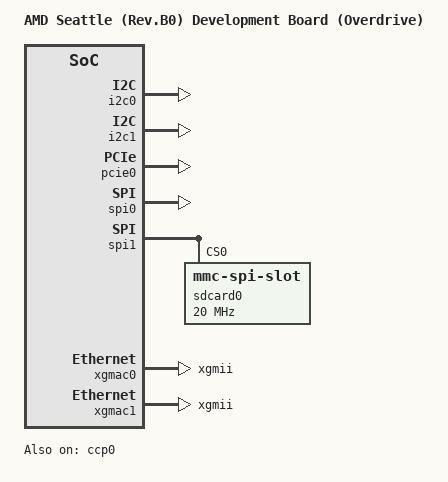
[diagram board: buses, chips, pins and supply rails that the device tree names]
// SPDX-License-Identifier: GPL-2.0
/*
 * DTS file for AMD Seattle Overdrive Development Board
 * Note: For Seattle Rev.B0
 *
 * Copyright (C) 2015 Advanced Micro Devices, Inc.
 */

/dts-v1/;

/include/ "amd-seattle-soc.dtsi"
/include/ "amd-seattle-cpus.dtsi"

/ {
	model = "AMD Seattle (Rev.B0) Development Board (Overdrive)";
	compatible = "amd,seattle-overdrive", "amd,seattle";

	chosen {
		stdout-path = &serial0;
	};

	psci {
		compatible = "arm,psci-0.2";
		method = "smc";
	};
};

&ccp0 {
	status = "okay";
};

/**
 * NOTE: In Rev.B, gpio0 is reserved.
 */
&gpio1 {
	status = "okay";
};

&gpio4 {
	status = "okay";
};

&i2c0 {
	status = "okay";
};

&i2c1 {
	status = "okay";
};

&pcie0 {
	status = "okay";
};

&spi0 {
	status = "okay";
};

&spi1 {
	status = "okay";
	sdcard0: mmc@0 {
		compatible = "mmc-spi-slot";
		reg = <0>;
		spi-max-frequency = <20000000>;
		voltage-ranges = <3200 3400>;
		pl022,interface = <0>;
		pl022,com-mode = <0x0>;
		pl022,rx-level-trig = <0>;
		pl022,tx-level-trig = <0>;
	};
};

&smb0 {
	xgmac0: ethernet@e0700000 {
		compatible = "amd,xgbe-seattle-v1a";
		reg = <0 0xe0700000 0 0x80000>,
		      <0 0xe0780000 0 0x80000>,
		      <0 0xe1240800 0 0x00400>, /* SERDES RX/TX0 */
		      <0 0xe1250000 0 0x00060>, /* SERDES IR 1/2 */
		      <0 0xe12500f8 0 0x00004>; /* SERDES IR 2/2 */
		interrupts = <0 325 4>,
			     <0 346 1>, <0 347 1>, <0 348 1>, <0 349 1>,
			     <0 323 4>;
		amd,per-channel-interrupt;
		amd,speed-set = <0>;
		amd,serdes-blwc = <1>, <1>, <0>;
		amd,serdes-cdr-rate = <2>, <2>, <7>;
		amd,serdes-pq-skew = <10>, <10>, <18>;
		amd,serdes-tx-amp = <0>, <0>, <0>;
		amd,serdes-dfe-tap-config = <3>, <3>, <3>;
		amd,serdes-dfe-tap-enable = <0>, <0>, <7>;
		mac-address = [ 02 A1 A2 A3 A4 A5 ];
		clocks = <&xgmacclk0_dma_250mhz>, <&xgmacclk0_ptp_250mhz>;
		clock-names = "dma_clk", "ptp_clk";
		phy-mode = "xgmii";
		iommus = <&xgmac0_smmu 0x00 0x17>; /* 0-7, 16-23 */
		dma-coherent;
	};

	xgmac1: ethernet@e0900000 {
		compatible = "amd,xgbe-seattle-v1a";
		reg = <0 0xe0900000 0 0x80000>,
		      <0 0xe0980000 0 0x80000>,
		      <0 0xe1240c00 0 0x00400>, /* SERDES RX/TX1 */
		      <0 0xe1250080 0 0x00060>, /* SERDES IR 1/2 */
		      <0 0xe12500fc 0 0x00004>; /* SERDES IR 2/2 */
		interrupts = <0 324 4>,
			     <0 341 1>, <0 342 1>, <0 343 1>, <0 344 1>,
			     <0 322 4>;
		amd,per-channel-interrupt;
		amd,speed-set = <0>;
		amd,serdes-blwc = <1>, <1>, <0>;
		amd,serdes-cdr-rate = <2>, <2>, <7>;
		amd,serdes-pq-skew = <10>, <10>, <18>;
		amd,serdes-tx-amp = <0>, <0>, <0>;
		amd,serdes-dfe-tap-config = <3>, <3>, <3>;
		amd,serdes-dfe-tap-enable = <0>, <0>, <7>;
		mac-address = [ 02 B1 B2 B3 B4 B5 ];
		clocks = <&xgmacclk1_dma_250mhz>, <&xgmacclk1_ptp_250mhz>;
		clock-names = "dma_clk", "ptp_clk";
		phy-mode = "xgmii";
		iommus = <&xgmac1_smmu 0x00 0x17>; /* 0-7, 16-23 */
		dma-coherent;
	};

	xgmac0_smmu: iommu@e0600000 {
		 compatible = "arm,mmu-401";
		 reg = <0 0xe0600000 0 0x10000>;
		 #global-interrupts = <1>;
		 interrupts = /* Uses combined intr for both
			       * global and context
			       */
			      <0 336 4>,
			      <0 336 4>;
		#iommu-cells = <2>;
		dma-coherent;
	 };

	 xgmac1_smmu: iommu@e0800000 {
		 compatible = "arm,mmu-401";
		 reg = <0 0xe0800000 0 0x10000>;
		 #global-interrupts = <1>;
		 interrupts = /* Uses combined intr for both
			       * global and context
			       */
			      <0 335 4>,
			      <0 335 4>;
		#iommu-cells = <2>;
		dma-coherent;
	 };
};
